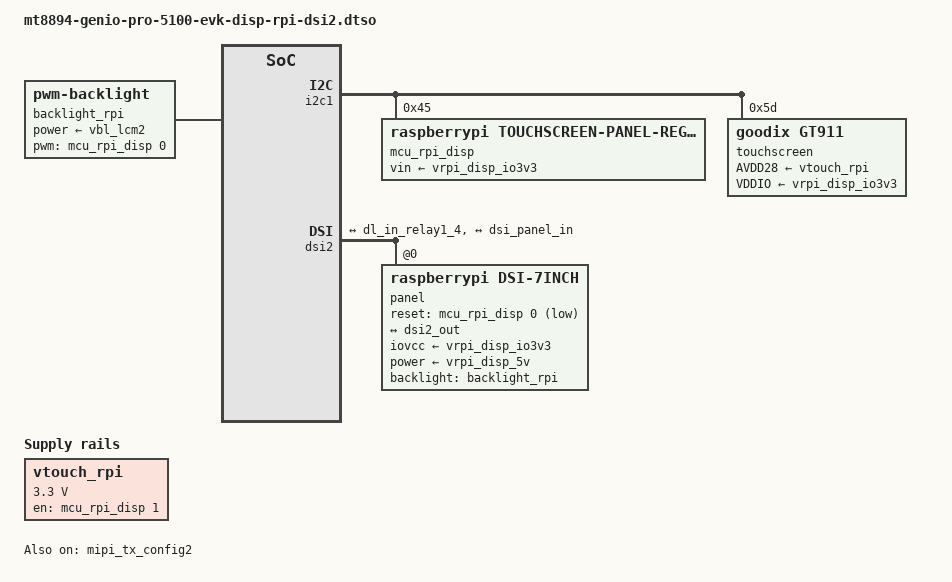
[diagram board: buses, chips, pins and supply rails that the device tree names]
// SPDX-License-Identifier: (GPL-2.0 OR MIT)
/*
 * Raspberry Pi DSI Display module
 * Copyright (C) 2026 Collabora Ltd.
 *                    AngeloGioacchino Del Regno <angelogioacchino.delregno@collabora.com>
 */

#include <dt-bindings/gpio/gpio.h>
#include <dt-bindings/interrupt-controller/irq.h>

/dts-v1/;
/plugin/;

&{/} {
	backlight_rpi: backlight {
		compatible = "pwm-backlight";
		brightness-levels = <0 1023>;
		default-brightness-level = <576>;
		num-interpolated-steps = <1023>;
		pwms = <&mcu_rpi_disp 0 200000 0>;
		power-supply = <&vbl_lcm2>;
	};

	vtouch_rpi: regulator-dsi-touch {
		compatible = "regulator-fixed";
		gpio = <&mcu_rpi_disp 1 GPIO_ACTIVE_HIGH>;
		regulator-name = "rpi-display-touch";
		regulator-min-microvolt = <3300000>;
		regulator-max-microvolt = <3300000>;
		startup-delay-us = <50000>;
		enable-active-high;
	};
};

&i2c1 {
	mcu_rpi_disp: regulator@45 {
		compatible = "raspberrypi,touchscreen-panel-regulator-v2";
		reg = <0x45>;
		vin-supply = <&vrpi_disp_io3v3>;
		gpio-controller;
		#gpio-cells = <2>;
		#pwm-cells = <3>;
	};

	touchscreen@5d {
		compatible = "goodix,gt911";
		reg = <0x5d>;
		AVDD28-supply = <&vtouch_rpi>;
		VDDIO-supply = <&vrpi_disp_io3v3>;
		touchscreen-size-x = <720>;
		touchscreen-size-y = <1280>;
	};
};

/*
 * The panel i2c reaches the display board's MCU through a level translator
 * powered by LCM_3V3_EN (GPIO212). With that rail off nothing answers at 0x45,
 * and the panel reset, the backlight PWM and the touch rail all live in that
 * MCU, so none of them can work and the panel never probes. The MCU driver
 * does not request any supply, hence nothing could ever enable the rail first.
 */
&vrpi_disp_io3v3 {
	regulator-boot-on;
	regulator-always-on;
};

&dl_in_relay1_4 {
	remote-endpoint = <&dsi2_in>;
};

&mipi_tx_config2 {
	status = "okay";
};

&dsi2 {
	#address-cells = <1>;
	#size-cells = <0>;
	status = "okay";


	panel@0 {
		compatible = "raspberrypi,dsi-7inch", "ilitek,ili9881c";
		reg = <0>;
		backlight = <&backlight_rpi>;
		iovcc-supply = <&vrpi_disp_io3v3>;
		power-supply = <&vrpi_disp_5v>;
		reset-gpios = <&mcu_rpi_disp 0 GPIO_ACTIVE_LOW>;

		port {
			dsi_panel_in: endpoint {
				remote-endpoint = <&dsi2_out>;
			};
		};
	};

	ports {
		#address-cells = <1>;
		#size-cells = <0>;

		port@0 {
			reg = <0>;
			dsi2_in: endpoint {
				remote-endpoint = <&dl_in_relay1_4>;
			};
		};

		port@1 {
			reg = <1>;
			dsi2_out: endpoint {
				remote-endpoint = <&dsi_panel_in>;
			};
		};
	};
};
